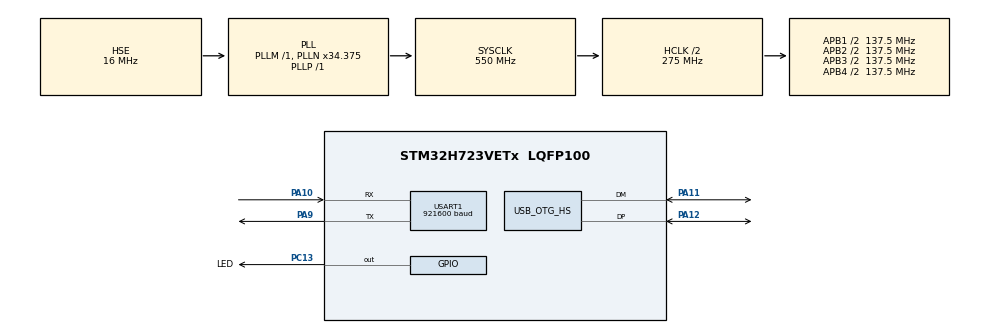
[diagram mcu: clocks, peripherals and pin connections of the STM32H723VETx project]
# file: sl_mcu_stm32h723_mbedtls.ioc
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CORTEX_M7.default_mode_Activation=1
Mcu.Family=STM32H7
Mcu.Name=STM32H723VETx
Mcu.Package=LQFP100
NVIC.OTG_HS_IRQn=true\:0\:0\:false\:false\:true\:false\:true\:true
NVIC.PriorityGroup=NVIC_PRIORITYGROUP_4
PA10.Mode=Asynchronous
PA10.Signal=USART1_RX
PA11.Mode=Device_Only_FS
PA11.Signal=USB_OTG_HS_DM
PA12.Mode=Device_Only_FS
PA12.Signal=USB_OTG_HS_DP
PA13(JTMS/SWDIO).Mode=Trace_Asynchronous_SW
PA13(JTMS/SWDIO).Signal=DEBUG_JTMS-SWDIO
PA14(JTCK/SWCLK).Mode=Trace_Asynchronous_SW
PA14(JTCK/SWCLK).Signal=DEBUG_JTCK-SWCLK
PA9.Mode=Asynchronous
PA9.Signal=USART1_TX
PB3(JTDO/TRACESWO).Mode=Trace_Asynchronous_SW
PB3(JTDO/TRACESWO).Signal=DEBUG_JTDO-SWO
PC13.GPIO_Label=LED
PC13.GPIO_ModeDefaultOutputPP=GPIO_MODE_OUTPUT_OD
PC13.GPIO_PuPd=GPIO_NOPULL
PC13.PinState=GPIO_PIN_SET
PC13.Signal=GPIO_Output
PH0-OSC_IN.Mode=HSE-External-Oscillator
PH0-OSC_IN.Signal=RCC_OSC_IN
PH1-OSC_OUT.Mode=HSE-External-Oscillator
PH1-OSC_OUT.Signal=RCC_OSC_OUT
ProjectManager.HeapSize=0x200
ProjectManager.StackSize=0x400
ProjectManager.TargetToolchain=STM32CubeIDE
RCC.ADCFreq_Value=32250000
RCC.APB1Freq_Value=137500000
RCC.APB2Freq_Value=137500000
RCC.APB3Freq_Value=137500000
RCC.APB4Freq_Value=137500000
RCC.CortexFreq_Value=550000000
RCC.D1PPRE=RCC_APB3_DIV2
RCC.D2PPRE1=RCC_APB1_DIV2
RCC.D2PPRE2=RCC_APB2_DIV2
RCC.D3PPRE=RCC_APB4_DIV2
RCC.DIVM1=1
RCC.DIVN1=34
RCC.DIVP1=1
RCC.DIVQ1=4
RCC.HCLKFreq_Value=275000000
RCC.HPRE=RCC_HCLK_DIV2
RCC.HSE_VALUE=16000000
RCC.PLLFRACN=3072
RCC.PLLSourceVirtual=RCC_PLLSOURCE_HSE
RCC.SYSCLKFreq_VALUE=550000000
RCC.SYSCLKSource=RCC_SYSCLKSOURCE_PLLCLK
RCC.USBCLockSelection=RCC_USBCLKSOURCE_HSI48
RCC.USBFreq_Value=48000000
USART1.BaudRate=921600
USART1.VirtualMode-Asynchronous=VM_ASYNC
USB_DEVICE.CLASS_NAME_HS=DFU
USB_DEVICE.MANUFACTURER_STRING=STM32World
USB_DEVICE.USBD_SELF_POWERED=0
USB_DEVICE.VirtualMode=Dfu
USB_DEVICE.VirtualModeHS=Dfu_HS
USB_OTG_HS.VirtualMode-Device_Only_FS=Device_Only_FS
VP_CRC_VS_CRC.Mode=CRC_Activate
VP_MBEDTLS_VS_MBEDTLS.Mode=Enabled
VP_MEMORYMAP_VS_MEMORYMAP.Mode=CurAppReg
VP_USB_DEVICE_VS_USB_DEVICE_DFU_HS.Mode=DFU_HS
board=custom

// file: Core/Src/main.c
/* USER CODE BEGIN Header */
/**
 ******************************************************************************
 * @file           : main.c
 * @brief          : Main program body
 ******************************************************************************
 * @attention
 *
 * Copyright (c) 2026 STM32World <lth@stm32world.com>
 * All rights reserved.
 *
 * This software is licensed under terms that can be found in the LICENSE file
 * in the root directory of this software component.
 * If no LICENSE file comes with this software, it is provided AS-IS.
 *
 ******************************************************************************
 */
/* USER CODE END Header */
#include "main.h"
#include "mbedtls.h"
#include "usb_device.h"

/* USER CODE BEGIN Includes */
#include <stdio.h>
/* USER CODE END Includes */

CRC_HandleTypeDef hcrc;

UART_HandleTypeDef huart1;

void SystemClock_Config(void);
static void MPU_Config(void);
static void MX_GPIO_Init(void);
static void MX_USART1_UART_Init(void);
static void MX_CRC_Init(void);

int main(void)
{

  /* MPU Configuration--------------------------------------------------------*/
  MPU_Config();

  /* MCU Configuration--------------------------------------------------------*/

  /* Reset of all peripherals, Initializes the Flash interface and the Systick. */
  HAL_Init();

  /* Configure the system clock */
  SystemClock_Config();

  /* Initialize all configured peripherals */
  MX_GPIO_Init();
  MX_USART1_UART_Init();
  MX_CRC_Init();
  MX_MBEDTLS_Init();
  MX_USB_DEVICE_Init();
  /* USER CODE BEGIN 2 */

    printf("\n\n\nStart\n");

  /* USER CODE END 2 */

  /* Infinite loop */
  /* USER CODE BEGIN WHILE */

    uint32_t now, loop_cnt = 0, next_blink = 500, next_tick = 1000;

    while (1) {

        now = uwTick;

        if (now >= next_blink) {
            HAL_GPIO_TogglePin(LED_GPIO_Port, LED_Pin);
            next_blink = now + 500;
        }

        if (now >= next_tick) {
            printf("Tick %lu (loop=%lu)\n", now / 1000, loop_cnt);

            loop_cnt = 0;
            next_tick = now + 1000;
        }

        ++loop_cnt;

    /* USER CODE END WHILE */

    }
}

void SystemClock_Config(void)
{
  RCC_OscInitTypeDef RCC_OscInitStruct = {0};
  RCC_ClkInitTypeDef RCC_ClkInitStruct = {0};

  /** Supply configuration update enable
  */
  HAL_PWREx_ConfigSupply(PWR_LDO_SUPPLY);

  /** Configure the main internal regulator output voltage
  */
  __HAL_PWR_VOLTAGESCALING_CONFIG(PWR_REGULATOR_VOLTAGE_SCALE0);

  while(!__HAL_PWR_GET_FLAG(PWR_FLAG_VOSRDY)) {}

  /** Initializes the RCC Oscillators according to the specified parameters
  * in the RCC_OscInitTypeDef structure.
  */
  RCC_OscInitStruct.OscillatorType = RCC_OSCILLATORTYPE_HSI48|RCC_OSCILLATORTYPE_HSE;
  RCC_OscInitStruct.HSEState = RCC_HSE_ON;
  RCC_OscInitStruct.HSI48State = RCC_HSI48_ON;
  RCC_OscInitStruct.PLL.PLLState = RCC_PLL_ON;
  RCC_OscInitStruct.PLL.PLLSource = RCC_PLLSOURCE_HSE;
  RCC_OscInitStruct.PLL.PLLM = 1;
  RCC_OscInitStruct.PLL.PLLN = 34;
  RCC_OscInitStruct.PLL.PLLP = 1;
  RCC_OscInitStruct.PLL.PLLQ = 4;
  RCC_OscInitStruct.PLL.PLLR = 2;
  RCC_OscInitStruct.PLL.PLLRGE = RCC_PLL1VCIRANGE_3;
  RCC_OscInitStruct.PLL.PLLVCOSEL = RCC_PLL1VCOWIDE;
  RCC_OscInitStruct.PLL.PLLFRACN = 3072;
  if (HAL_RCC_OscConfig(&RCC_OscInitStruct) != HAL_OK)
  {
    Error_Handler();
  }

  /** Initializes the CPU, AHB and APB buses clocks
  */
  RCC_ClkInitStruct.ClockType = RCC_CLOCKTYPE_HCLK|RCC_CLOCKTYPE_SYSCLK
                              |RCC_CLOCKTYPE_PCLK1|RCC_CLOCKTYPE_PCLK2
                              |RCC_CLOCKTYPE_D3PCLK1|RCC_CLOCKTYPE_D1PCLK1;
  RCC_ClkInitStruct.SYSCLKSource = RCC_SYSCLKSOURCE_PLLCLK;
  RCC_ClkInitStruct.SYSCLKDivider = RCC_SYSCLK_DIV1;
  RCC_ClkInitStruct.AHBCLKDivider = RCC_HCLK_DIV2;
  RCC_ClkInitStruct.APB3CLKDivider = RCC_APB3_DIV2;
  RCC_ClkInitStruct.APB1CLKDivider = RCC_APB1_DIV2;
  RCC_ClkInitStruct.APB2CLKDivider = RCC_APB2_DIV2;
  RCC_ClkInitStruct.APB4CLKDivider = RCC_APB4_DIV2;

  if (HAL_RCC_ClockConfig(&RCC_ClkInitStruct, FLASH_LATENCY_3) != HAL_OK)
  {
    Error_Handler();
  }
}

static void MX_CRC_Init(void)
{

  hcrc.Instance = CRC;
  hcrc.Init.DefaultPolynomialUse = DEFAULT_POLYNOMIAL_ENABLE;
  hcrc.Init.DefaultInitValueUse = DEFAULT_INIT_VALUE_ENABLE;
  hcrc.Init.InputDataInversionMode = CRC_INPUTDATA_INVERSION_NONE;
  hcrc.Init.OutputDataInversionMode = CRC_OUTPUTDATA_INVERSION_DISABLE;
  hcrc.InputDataFormat = CRC_INPUTDATA_FORMAT_BYTES;
  if (HAL_CRC_Init(&hcrc) != HAL_OK)
  {
    Error_Handler();
  }

}

static void MX_USART1_UART_Init(void)
{

  huart1.Instance = USART1;
  huart1.Init.BaudRate = 921600;
  huart1.Init.WordLength = UART_WORDLENGTH_8B;
  huart1.Init.StopBits = UART_STOPBITS_1;
  huart1.Init.Parity = UART_PARITY_NONE;
  huart1.Init.Mode = UART_MODE_TX_RX;
  huart1.Init.HwFlowCtl = UART_HWCONTROL_NONE;
  huart1.Init.OverSampling = UART_OVERSAMPLING_16;
  huart1.Init.OneBitSampling = UART_ONE_BIT_SAMPLE_DISABLE;
  huart1.Init.ClockPrescaler = UART_PRESCALER_DIV1;
  huart1.AdvancedInit.AdvFeatureInit = UART_ADVFEATURE_NO_INIT;
  if (HAL_UART_Init(&huart1) != HAL_OK)
  {
    Error_Handler();
  }
  if (HAL_UARTEx_SetTxFifoThreshold(&huart1, UART_TXFIFO_THRESHOLD_1_8) != HAL_OK)
  {
    Error_Handler();
  }
  if (HAL_UARTEx_SetRxFifoThreshold(&huart1, UART_RXFIFO_THRESHOLD_1_8) != HAL_OK)
  {
    Error_Handler();
  }
  if (HAL_UARTEx_DisableFifoMode(&huart1) != HAL_OK)
  {
    Error_Handler();
  }

}

static void MX_GPIO_Init(void)
{
  GPIO_InitTypeDef GPIO_InitStruct = {0};

  /* GPIO Ports Clock Enable */
  __HAL_RCC_GPIOC_CLK_ENABLE();
  __HAL_RCC_GPIOH_CLK_ENABLE();
  __HAL_RCC_GPIOA_CLK_ENABLE();
  __HAL_RCC_GPIOB_CLK_ENABLE();

  /*Configure GPIO pin Output Level */
  HAL_GPIO_WritePin(LED_GPIO_Port, LED_Pin, GPIO_PIN_SET);

  /*Configure GPIO pin : LED_Pin */
  GPIO_InitStruct.Pin = LED_Pin;
  GPIO_InitStruct.Mode = GPIO_MODE_OUTPUT_OD;
  GPIO_InitStruct.Pull = GPIO_NOPULL;
  GPIO_InitStruct.Speed = GPIO_SPEED_FREQ_LOW;
  HAL_GPIO_Init(LED_GPIO_Port, &GPIO_InitStruct);

}

/* USER CODE BEGIN 4 */

// Send printf to uart1
int __io_putchar(int ch) {
    if (ch == '\n') {
        HAL_UART_Transmit(&huart1, (uint8_t*) "\r", 1, HAL_MAX_DELAY);
    }
    if (HAL_UART_Transmit(&huart1, (uint8_t*) &ch, 1, HAL_MAX_DELAY) != HAL_OK) {
        return -1;
    }
    return ch;
}

/* USER CODE END 4 */

 /* MPU Configuration */

void MPU_Config(void)
{
  MPU_Region_InitTypeDef MPU_InitStruct = {0};

  /* Disables the MPU */
  HAL_MPU_Disable();

  /** Initializes and configures the Region and the memory to be protected
  */
  MPU_InitStruct.Enable = MPU_REGION_ENABLE;
  MPU_InitStruct.Number = MPU_REGION_NUMBER0;
  MPU_InitStruct.BaseAddress = 0x0;
  MPU_InitStruct.Size = MPU_REGION_SIZE_4GB;
  MPU_InitStruct.SubRegionDisable = 0x87;
  MPU_InitStruct.TypeExtField = MPU_TEX_LEVEL0;
  MPU_InitStruct.AccessPermission = MPU_REGION_NO_ACCESS;
  MPU_InitStruct.DisableExec = MPU_INSTRUCTION_ACCESS_DISABLE;
  MPU_InitStruct.IsShareable = MPU_ACCESS_SHAREABLE;
  MPU_InitStruct.IsCacheable = MPU_ACCESS_NOT_CACHEABLE;
  MPU_InitStruct.IsBufferable = MPU_ACCESS_NOT_BUFFERABLE;

  HAL_MPU_ConfigRegion(&MPU_InitStruct);
  /* Enables the MPU */
  HAL_MPU_Enable(MPU_PRIVILEGED_DEFAULT);

}

void Error_Handler(void)
{
    __disable_irq();
    while (1)
    {
    }
}
